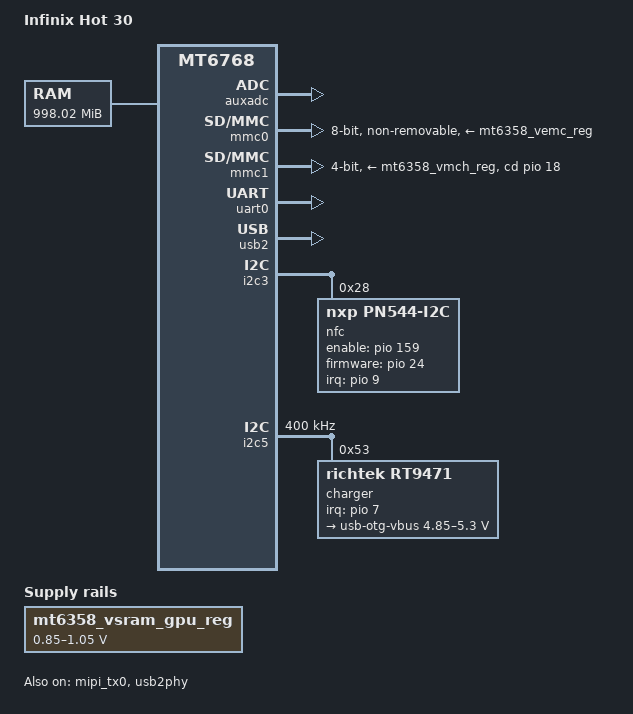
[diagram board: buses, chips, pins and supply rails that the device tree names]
/dts-v1/;


#include <dt-bindings/gpio/gpio.h>
#include <dt-bindings/leds/common.h>
#include <dt-bindings/iio/adc/mediatek,mt6370_adc.h>
#include <dt-bindings/usb/pd.h>

#include "mt6769z.dtsi"
#include "mt6358.dtsi"



/ {
	model = "Infinix Hot 30";
	compatible = "infinix,x6831", "mediatek,mt6769z", "mediatek,mt6768";

	#address-cells = <0x02>;
	#size-cells = <0x02>;

	chosen {
		//bootargs = "console=tty0 console=ttyS0,921600n1 root=/dev/ram vmalloc=400M slub_debug=OFZPU swiotlb=noforce cgroup.memory=nosocket,nokmem page_owner=on loop.max_part=7 earlycon=simplefb,0x77030000,1088,2460 console=simplefb pmos.debug-shell clk_ignore_unused keep_bootcon loglevel=8";
		bootargs = "clk_ignore_unused regulator_ignore_unused pinctrl_ignore_unused log_buf_len=32M";
		kaslr-seed = <0x00 0x00>;
		stdout-path = &framebuffer0;


		framebuffer0: framebuffer@77030000 {
			compatible = "simple-framebuffer";
			// reg = <0 0x77030000 0 (1080*2460*4)>;
			reg = <0 0x77030000 0 0x23d0000>;
			width = <1080>;
			height = <2460>;
			stride = <(1088 * 4)>;
			format = "a8r8g8b8";
		};
	};

	memory {
		device_type = "memory";
		reg = <0x00 0x40000000 0x00 0x3e605000>;
	};

	/* required with stock bootloader */
	odm {
		compatible = "simple-bus";
	};

};

&auxadc {
	status = "okay";
};

&thermal {
	status = "okay";
};

&mt6358_vdram2_reg {
	regulator-always-on;
};

/* mt6358_vaud28_reg - audio */
/* mt6358_vbif28_reg - bluetooth? */

&mt6358_vio28_reg {
	regulator-always-on;
};

// I guess
&mt6358_vaux18_reg {
	regulator-always-on;
};

&cci {
	proc-supply = <&mt6358_vproc12_reg>;
};

&cpu0 {
	proc-supply = <&mt6358_vproc12_reg>;
};

&cpu1 {
	proc-supply = <&mt6358_vproc12_reg>;
};

&cpu2 {
	proc-supply = <&mt6358_vproc12_reg>;
};

&cpu3 {
	proc-supply = <&mt6358_vproc12_reg>;
};

&cpu4 {
	proc-supply = <&mt6358_vproc12_reg>;
};

&cpu5 {
	proc-supply = <&mt6358_vproc12_reg>;
};

&cpu6 {
	proc-supply = <&mt6358_vproc11_reg>;
};

&cpu7 {
	proc-supply = <&mt6358_vproc11_reg>;
};

&mt6358_vgpu_reg {
	regulator-max-microvolt = <950000>;
	regulator-always-on;
	regulator-boot-on;

	regulator-coupled-with = <&mt6358_vsram_gpu_reg>;
	regulator-coupled-max-spread = <100000>;
};

&mt6358_vsram_gpu_reg {
	regulator-min-microvolt = <850000>;
	regulator-max-microvolt = <1050000>;
	regulator-always-on;
	regulator-boot-on;

	regulator-coupled-with = <&mt6358_vgpu_reg>;
	regulator-coupled-max-spread = <100000>;
};

&mipi_tx0 {
	status = "okay";
};

&mmc0 {
	status = "okay";
	pinctrl-names = "default", "state_uhs";
	pinctrl-0 = <&mmc0_default_pins>;
	pinctrl-1 = <&mmc0_uhs_pins>;
	bus-width = <8>;
	max-frequency = <200000000>;
	cap-mmc-highspeed;
	mmc-ddr-1_8v;
	mmc-hs200-1_8v;
	mmc-hs400-1_8v;
	cap-mmc-hw-reset;
	no-sdio;
	no-sd;
	non-removable;
	supports-cqe;
	hs400-ds-delay = <0x12814>;
	vmmc-supply = <&mt6358_vemc_reg>;
	vqmmc-supply = <&mt6358_vio18_reg>;
};

&mmc1 {
	status = "okay";
	pinctrl-names = "default", "state_uhs";
	pinctrl-0 = <&mmc1_default_pins>;
	pinctrl-1 = <&mmc1_uhs_pins>;
	bus-width = <4>;
	max-frequency = <200000000>;
	cap-sd-highspeed;
	sd-uhs-sdr12;
	sd-uhs-sdr25;
	sd-uhs-sdr50;
	sd-uhs-sdr104;
	sd-uhs-ddr50;
	no-mmc;
	no-sdio;
	cd-gpios = <&pio 18 GPIO_ACTIVE_HIGH>;
	vmmc-supply = <&mt6358_vmch_reg>;
	vqmmc-supply = <&mt6358_vmc_reg>;
};

&pio {
	mmc0_default_pins: mmc0-default-pins {
		pins-clk {
			pinmux = <PINMUX_GPIO124__FUNC_MSDC0_CLK>;
			drive-strength = <MTK_DRIVE_4mA>;
			bias-pull-down = <MTK_PUPD_SET_R1R0_10>;
		};

		pins-cmd-dat {
			pinmux = <PINMUX_GPIO123__FUNC_MSDC0_DAT0>,
			<PINMUX_GPIO128__FUNC_MSDC0_DAT1>,
			<PINMUX_GPIO125__FUNC_MSDC0_DAT2>,
			<PINMUX_GPIO132__FUNC_MSDC0_DAT3>,
			<PINMUX_GPIO126__FUNC_MSDC0_DAT4>,
			<PINMUX_GPIO129__FUNC_MSDC0_DAT5>,
			<PINMUX_GPIO127__FUNC_MSDC0_DAT6>,
			<PINMUX_GPIO130__FUNC_MSDC0_DAT7>,
			<PINMUX_GPIO122__FUNC_MSDC0_CMD>;
			input-enable;
			drive-strength = <MTK_DRIVE_4mA>;
			bias-pull-up = <MTK_PUPD_SET_R1R0_01>;
		};

		pins-ds {
			pinmux = <PINMUX_GPIO131__FUNC_MSDC0_DSL>;
			drive-strength = <MTK_DRIVE_4mA>;
		};

		pins-rst {
			pinmux = <PINMUX_GPIO133__FUNC_MSDC0_RSTB>;
			drive-strength = <MTK_DRIVE_6mA>;
			bias-pull-up = <MTK_PUPD_SET_R1R0_01>;
		};
	};

	mmc0_uhs_pins: mmc0-uhs-pins {
		pins-clk {
			pinmux = <PINMUX_GPIO124__FUNC_MSDC0_CLK>;
			drive-strength = <MTK_DRIVE_8mA>;
			bias-pull-down = <MTK_PUPD_SET_R1R0_10>;
		};

		pins-cmd-dat {
			pinmux = <PINMUX_GPIO123__FUNC_MSDC0_DAT0>,
			<PINMUX_GPIO122__FUNC_MSDC0_CMD>;
			input-enable;
			drive-strength = <MTK_DRIVE_8mA>;
			bias-pull-up = <MTK_PUPD_SET_R1R0_01>;
		};

		pins-ds {
			pinmux = <PINMUX_GPIO131__FUNC_MSDC0_DSL>;
			drive-strength = <MTK_DRIVE_8mA>;
			bias-pull-down = <MTK_PUPD_SET_R1R0_10>;
		};

		pins-rst {
			pinmux = <PINMUX_GPIO133__FUNC_MSDC0_RSTB>;
			drive-strength = <MTK_DRIVE_8mA>;
			bias-pull-up = <MTK_PUPD_SET_R1R0_01>;
		};
	};

	mmc1_default_pins: mmc1-default-pins {
		pins-cmd-dat {
			pinmux = <PINMUX_GPIO164__FUNC_MSDC1_DAT0>,
			<PINMUX_GPIO163__FUNC_MSDC1_DAT1>,
			<PINMUX_GPIO162__FUNC_MSDC1_DAT2>,
			<PINMUX_GPIO161__FUNC_MSDC1_DAT3>,
			<PINMUX_GPIO170__FUNC_MSDC1_CMD>;
			input-enable;
			drive-strength = <MTK_DRIVE_4mA>;
			bias-pull-up = <MTK_PUPD_SET_R1R0_01>;
		};

		pins-clk {
			pinmux = <PINMUX_GPIO171__FUNC_MSDC1_CLK>;
			drive-strength = <MTK_DRIVE_4mA>;
			bias-pull-down = <MTK_PUPD_SET_R1R0_10>;
		};

		pins-insert {
			pinmux = <PINMUX_GPIO18__FUNC_GPIO18>;
			bias-pull-up;
		};
	};

	mmc1_uhs_pins: mmc1-uhs-pins {
		pins-cmd-dat {
			pinmux = <PINMUX_GPIO164__FUNC_MSDC1_DAT0>,
			<PINMUX_GPIO163__FUNC_MSDC1_DAT1>,
			<PINMUX_GPIO162__FUNC_MSDC1_DAT2>,
			<PINMUX_GPIO161__FUNC_MSDC1_DAT3>,
			<PINMUX_GPIO170__FUNC_MSDC1_CMD>;
			input-enable;
			drive-strength = <MTK_DRIVE_4mA>;
			bias-pull-up = <MTK_PUPD_SET_R1R0_01>;
		};

		pins-clk {
			pinmux = <PINMUX_GPIO171__FUNC_MSDC1_CLK>;
			drive-strength = <MTK_DRIVE_4mA>;
		};
	};


};

&pmic {
	interrupts-extended = <&pio 144 IRQ_TYPE_LEVEL_HIGH>;
};


/* Serial */
&uart0 {
	status = "okay";
};

/* USB */
&usb2 {
	status = "okay";
};

&usb2phy {
	status = "okay";
};

&i2c3 {
	status = "okay";
	#address-cells = <1>;
	#size-cells = <0>;

	nfc@28 {
		compatible = "nxp,pn544-i2c";
		reg = <0x28>;

		interrupt-parent = <&pio>;
		interrupts = <9 IRQ_TYPE_LEVEL_HIGH>;

		enable-gpios   = <&pio 159 GPIO_ACTIVE_HIGH>;
		firmware-gpios = <&pio 24  GPIO_ACTIVE_HIGH>;

		status = "okay";
	};
};


&i2c5 {
	status = "okay";
	clock-frequency = <400000>;

	charger@53 {
		compatible = "richtek,rt9471";
		reg = <0x53>;

		wakeup-source;

		interrupt-parent = <&pio>;
		interrupts = <7 IRQ_TYPE_EDGE_FALLING>;

		usb-otg-vbus-regulator {
			regulator-name = "usb-otg-vbus";
			regulator-min-microvolt = <4850000>;
			regulator-max-microvolt = <5300000>;
			regulator-min-microamp = <500000>;
			regulator-max-microamp = <1200000>;
		};
	};
};


